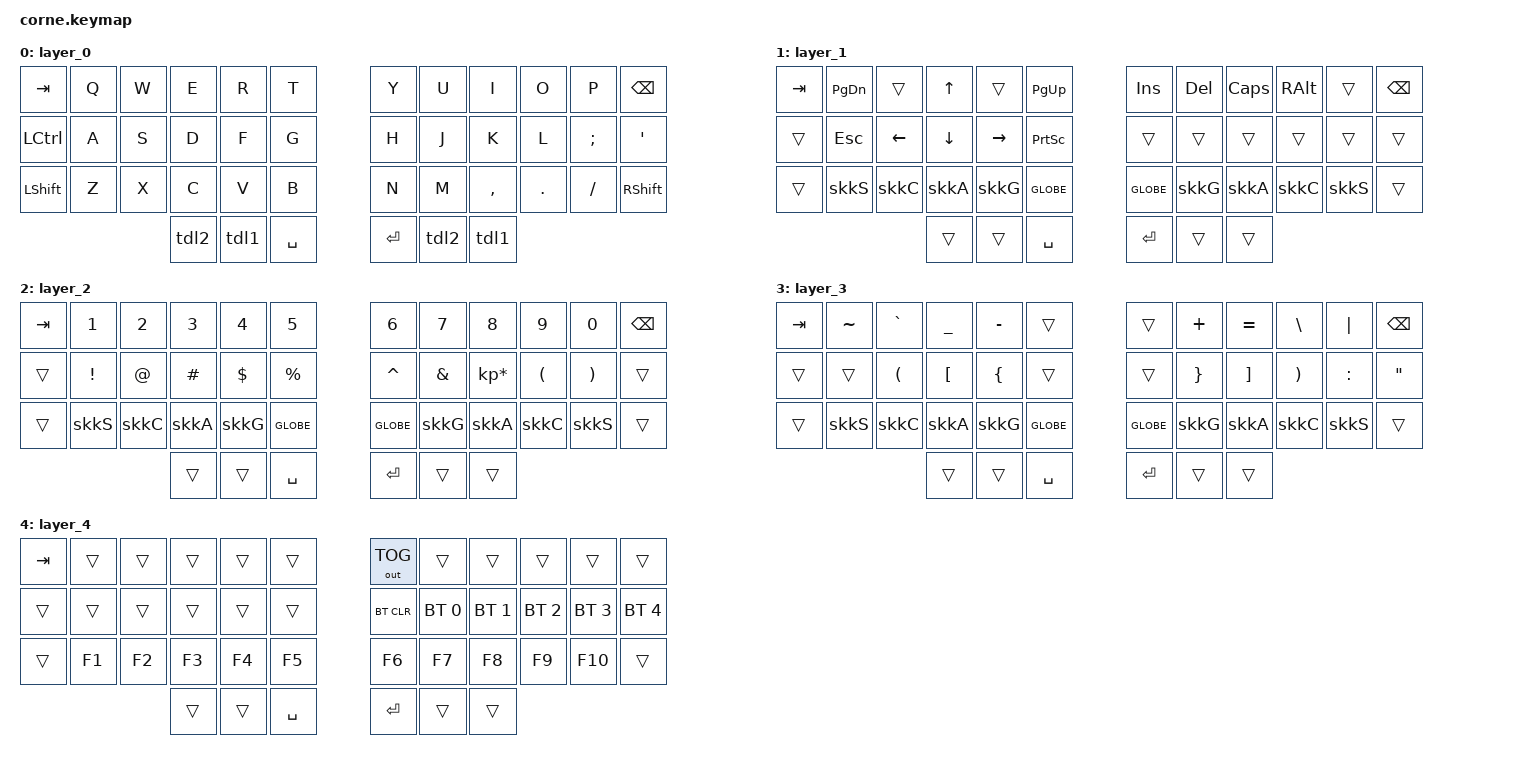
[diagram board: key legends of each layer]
/*
 * Copyright (c) 2020 The ZMK Contributors
 *
 * SPDX-License-Identifier: MIT
 */

#include <behaviors.dtsi>
#include <dt-bindings/zmk/keys.h>
#include <dt-bindings/zmk/bt.h>
#include <dt-bindings/zmk/outputs.h>

/ {

        keymap {
                compatible = "zmk,keymap";

                layer_0 {
// -----------------------------------------------------------------------------------------
// |  TAB |  Q  |  W  |  E  |  R  |  T  |   |  Y  |  U   |  I  |  O  |  P  | BKSP |
// | CTRL |  A  |  S  |  D  |  F  |  G  |   |  H  |  J   |  K  |  L  |  ;  |  '   |
// | SHFT |  Z  |  X  |  C  |  V  |  B  |   |  N  |  M   |  ,  |  .  |  /  | SHFT |
//                    | GUI | MO1 | SPC |   | ENT | MO2  | ALT |
                        bindings = <
   &kp  TAB    &kp Q  &kp W  &kp E  &kp R  &kp T  &kp Y  &kp U  &kp I         &kp O        &kp P        &kp  BSPC
   &kp  LCTRL  &kp A  &kp S  &kp D  &kp F  &kp G  &kp H  &kp J  &kp K         &kp L        &kp SEMI     &kp  SQT
   &kp  LSHFT  &kp Z  &kp X  &kp C  &kp V  &kp B  &kp N  &kp M  &kp COMMA     &kp DOT      &kp FSLH     &kp RSHFT 
                    &tdl2 &tdl1 &kp SPACE  &kp RET &tdl2 &tdl1
                        >;
                };

                layer_1 {
// -----------------------------------------------------------------------------------------
// |  TAB | PGDN |     |  UP |     | PGUP |   | INS |     |     |     |     | BKSP |
// | CTRL |  ESC | LFT | DWN | RGT | SCRN |   | DEL |     |     |     |     |      |
// | SHFT |  skC | skA | skS | skG |      |   |     | skG | skS | skA | skC | SHFT |
//                     | GUI |     | SPC  |   | ENT |     | ALT |
                        bindings = <
   &kp TAB    &kp PG_DN    &trans       &kp UP       &trans       &kp PG_UP      &kp INS     &kp DEL    &kp CLCK  &kp RALT    &trans     &kp BSPC
   &trans     &kp ESC      &kp LEFT     &kp DOWN     &kp RIGHT    &kp PSCRN      &trans      &trans     &trans    &trans      &trans     &trans
   &trans     &skkS        &skkC        &skkA        &skkG        &kp GLOBE      &kp GLOBE   &skkG      &skkA     &skkC       &skkS      &trans
                          	        &trans       &trans       &kp SPACE      &kp RET     &trans   &trans
                        >;
                };

                layer_2 {
// -----------------------------------------------------------------------------------------
// |  TAB |  1  |  2  |  3  |  4  |  5  |   |  6  |  7  |  8  |  9  |  0  | BKSP |
// | CTRL |  !  |  @  |  #  |  $  |  %  |   |  ^  |  &  |  *  |  (  |  )  |      |
// | SHFT | skC | skA | skS | skG |     |   |     | skG | skS | skA | skC | SHFT |
//                    | GUI |     | SPC |   | ENT |     | ALT |
                        bindings = <
   &kp TAB    &kp N1    &kp N2    &kp N3     &kp N4    &kp N5         &kp N6        &kp N7       &kp N8          &kp N9     &kp N0      &kp BSPC
   &trans     &kp EXCL  &kp AT    &kp HASH   &kp DLLR  &kp PRCNT      &kp CARET     &kp AMPS     &kp KP_ASTERISK &kp LPAR   &kp RPAR    &trans
   &trans     &skkS     &skkC     &skkA      &skkG     &kp GLOBE      &kp GLOBE     &skkG        &skkA           &skkC      &skkS       &trans
                                  &trans     &trans    &kp SPACE      &kp RET       &trans       &trans
                        >;
                };

                layer_3 {
// -----------------------------------------------------------------------------------------
// |  TAB |  ~  |  `  |  _  |  -  |     |   |     |  +  |  =  |  \   |  |  | BKSP |
// | CTRL |     |  (  |  [  |  {  |     |   |     |  }  |  ]  |  )   |  :  |   "  |
// | SHFT |     |     |     |     |     |   |     |     |  <  |  >   |  ?  | SHFT |
//                    | GUI |     | SPC |   | ENT |     | OUT |
                        bindings = <
   &kp TAB   &kp TILDE    &kp GRAVE &kp UNDER  &kp MINUS   &trans      &trans     &kp PLUS   &kp EQUAL  &kp BSLH   &kp PIPE   &kp BSPC
   &trans    &trans       &kp LPAR  &kp LBKT   &kp LBRC    &trans      &trans     &kp RBRC   &kp RBKT   &kp RPAR   &kp COLON  &kp DQT  
   &trans    &skkS        &skkC     &skkA      &skkG       &kp GLOBE   &kp GLOBE  &skkG      &skkA      &skkC      &skkS      &trans 
                                    &trans     &trans      &kp SPACE   &kp RET    &trans     &trans
                        >;
                };

               layer_4 {
// -----------------------------------------------------------------------------------------
// |      |     |     |     |     |     |   |     |      |      |      |      |      |
// |      |     |     |     |     |     |   |BTCLR| BT 0 | BT 1 | BT 2 | BT 3 | BT 4 |
// |      |     |     |     |     |     |   |     |      |      |      |      |      |
//                    | GUI |     | SPC |   | ENT |     | ALT |
                        bindings = <
   &kp TAB    &trans       &trans    &trans    &trans    &trans      &out OUT_TOG &trans       &trans          &trans          &trans         &trans
   &trans     &trans       &trans    &trans    &trans    &trans      &bt BT_CLR   &bt BT_SEL 0 &bt BT_SEL 1    &bt BT_SEL 2    &bt BT_SEL 3   &bt BT_SEL 4
   &trans     &kp F1       &kp F2    &kp F3    &kp F4    &kp F5      &kp F6       &kp F7       &kp F8          &kp F9          &kp F10        &trans
                                     &trans    &trans    &kp SPACE   &kp RET      &trans       &trans
                        >;
                };
        };				

        conditional_layers {
                compatible = "zmk,conditional-layers";
                tri_layer {
                    if-layers = <1 2>;
                    then-layer = <3>;
                };
        };

        combos {
                compatible = "zmk,combos";
                combo_layer4 {
                        timeout-ms = <150>;
                        key-positions = <36 41>;
                        bindings = <&tog 4>;
                };
        };

        behaviors {
                skkC: stickey_keyPress_Control {
                    compatible = "zmk,behavior-tap-dance";
                    #binding-cells = <0>;
                    tapping-term-ms = <200>;
                    bindings = <&sk LCTRL>, <&kp LCTRL>;
                };

                skkS: stickey_keyPress_Shift {
                    compatible = "zmk,behavior-tap-dance";
                    #binding-cells = <0>;
                    tapping-term-ms = <200>;
                    bindings = <&sk LSHFT>, <&kp LSHFT>;
                };

                skkA: stickey_keyPress_Alt {
                    compatible = "zmk,behavior-tap-dance";
                    #binding-cells = <0>;
                    tapping-term-ms = <200>;
                    bindings = <&sk LALT>, <&kp LALT>;
                };

                skkG: stickey_keyPress_GUI {
                    compatible = "zmk,behavior-tap-dance";
                    #binding-cells = <0>;
                    tapping-term-ms = <200>;
                    bindings = <&sk LGUI>, <&kp LGUI>;
                };

                tdl1: tap_dance_layer_1 {
                    compatible = "zmk,behavior-tap-dance";
                    #binding-cells = <0>;
                    tapping-term-ms = <200>;
                    bindings = <&mo 1>, <&mo 1>, <&tog 1>;
                };

                tdl2: tap_dance_layer_2 {
                    compatible = "zmk,behavior-tap-dance";
                    #binding-cells = <0>;
                    tapping-term-ms = <200>;
                    bindings = <&mo 2>, <&mo 2>, <&tog 2>;
                };

                //skq: sticky_key_quick_release {
                //        compatible = "zmk,behavior-sticky-key";
                //        #binding-cells = <1>;
                //        bindings = <&kp>;
                //        release-after-ms = <1000>;
                //        quick-release;
                //        ignore-modifiers;
                //};
        };

};
